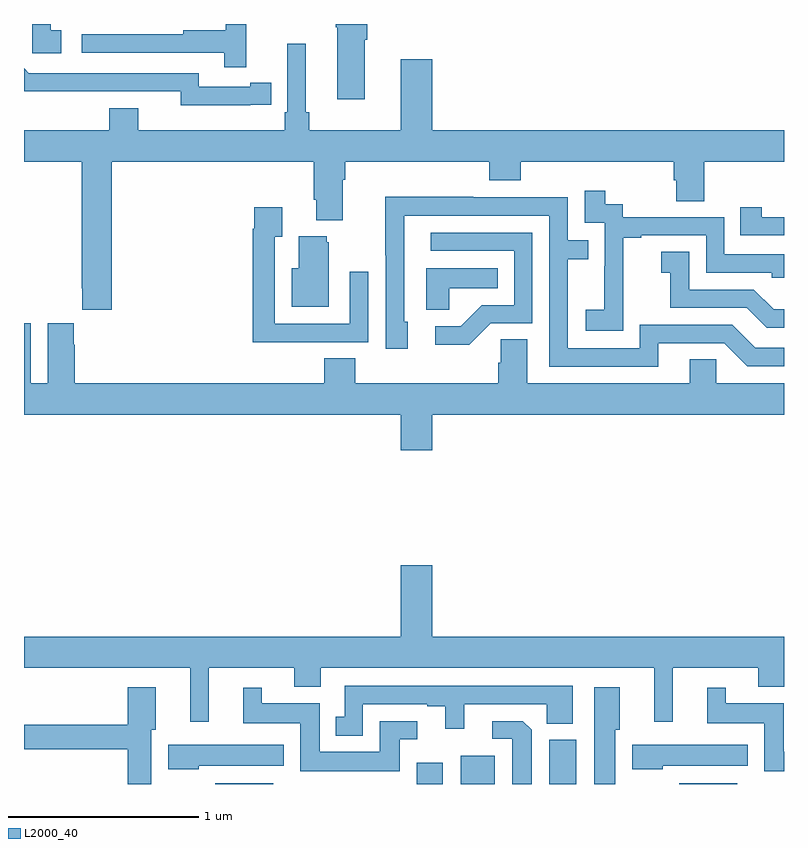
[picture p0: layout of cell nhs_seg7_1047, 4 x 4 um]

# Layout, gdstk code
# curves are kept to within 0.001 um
import gdstk
lib = gdstk.Library(unit=1e-6, precision=1e-09)
def R(c, l, rs):  # rectangles x0, y0, x1, y1
    for r in rs: c.add(gdstk.rectangle(r[:2], r[2:], *l))
def P(c, l, *ps):  # polygons
    for p in ps: c.add(gdstk.Polygon(p, *l))
L2000_40 = (2000, 40)

nhs_seg7_1047 = lib.new_cell('nhs_seg7_1047')
R(nhs_seg7_1047, L2000_40, [(188.006,1004,188.311,1004.005), (189.068,1004,189.205,1004.113), (189.299,1004,189.478,1004.149), (189.764,1004,189.907,1004.233), (190.448,1004,190.753,1004.005)])
P(nhs_seg7_1047, L2000_40, [(188.794,1007.916),(188.807,1007.916),(188.807,1008),(188.641,1008),(188.641,1007.983),(188.648,1007.983),(188.648,1007.604),(188.794,1007.604)],
  [(188.171,1008),(188.061,1008),(188.061,1007.966),(187.837,1007.966),(187.837,1007.946),(187.305,1007.946),(187.305,1007.85),(188.053,1007.85),(188.053,1007.772),(188.171,1007.772)],
  [(187.195,1007.967),(187.142,1007.967),(187.142,1008),(187.044,1008),(187.044,1007.847),(187.195,1007.847)],
  [(187.463,1007.276),(188.525,1007.276),(188.525,1007.074),(188.537,1007.074),(188.537,1006.967),(188.677,1006.967),(188.677,1007.18),(188.69,1007.18),(188.69,1007.276),(189.449,1007.276),(189.449,1007.177),(189.614,1007.177),(189.614,1007.276),(190.421,1007.276),(190.421,1007.178),(190.433,1007.178),(190.433,1007.068),(190.581,1007.068),(190.581,1007.276),(191,1007.276),(191,1007.44),(189.148,1007.44),(189.148,1007.815),(188.984,1007.815),(188.984,1007.44),(188.501,1007.44),(188.501,1007.536),(188.482,1007.536),(188.482,1007.896),(188.385,1007.896),(188.385,1007.536),(188.372,1007.536),(188.372,1007.44),(187.6,1007.44),(187.6,1007.557),(187.448,1007.557),(187.448,1007.44),(187,1007.44),(187,1007.276),(187.303,1007.276),(187.303,1006.609),(187.307,1006.609),(187.307,1006.497),(187.463,1006.497)],
  [(188.192,1007.574),(188.3,1007.574),(188.3,1007.69),(188.192,1007.69),(188.192,1007.67),(187.92,1007.67),(187.92,1007.742),(187.026,1007.742),(187,1007.768),(187,1007.645),(187.824,1007.646),(187.824,1007.573)],
  [(190.155,1006.591),(190.154,1006.591),(190.154,1006.875),(190.249,1006.875),(190.249,1006.887),(190.59,1006.887),(190.59,1006.692),(190.935,1006.692),(190.935,1006.665),(191,1006.665),(191,1006.788),(190.686,1006.788),(190.686,1006.983),(190.152,1006.983),(190.152,1007.052),(190.06,1007.052),(190.06,1007.122),(189.951,1007.122),(189.951,1006.953),(190.056,1006.953),(190.056,1006.724),(190.055,1006.724),(190.055,1006.495),(189.957,1006.495),(189.957,1006.385),(190.155,1006.385)],
  [(190.339,1006.32),(190.686,1006.32),(190.806,1006.2),(191,1006.2),(191,1006.296),(190.848,1006.296),(190.728,1006.416),(190.242,1006.416),(190.242,1006.293),(189.861,1006.293),(189.861,1006.762),(189.971,1006.762),(189.971,1006.863),(189.861,1006.863),(189.861,1007.088),(189.365,1007.088),(189.365,1007.09),(188.902,1007.09),(188.902,1006.783),(188.904,1006.783),(188.904,1006.29),(189.019,1006.29),(189.019,1006.434),(189,1006.434),(189,1006.992),(189.765,1006.992),(189.765,1006.197),(190.339,1006.197)],
  [(191,1006.983),(190.882,1006.983),(190.882,1007.035),(190.771,1007.035),(190.771,1006.887),(191,1006.887)],
  [(188.495,1006.326),(188.811,1006.326),(188.811,1006.696),(188.715,1006.696),(188.715,1006.422),(188.319,1006.422),(188.319,1006.879),(188.359,1006.879),(188.359,1007.035),(188.211,1007.035),(188.211,1006.922),(188.203,1006.922),(188.203,1006.325),(188.495,1006.325)],
  [(189.456,1006.425),(189.675,1006.425),(189.675,1006.902),(189.141,1006.902),(189.141,1006.806),(189.579,1006.806),(189.579,1006.521),(189.41,1006.521),(189.299,1006.41),(189.165,1006.41),(189.165,1006.313),(189.343,1006.313)],
  [(188.605,1006.851),(188.594,1006.851),(188.594,1006.882),(188.447,1006.882),(188.447,1006.714),(188.408,1006.714),(188.408,1006.511),(188.605,1006.511)],
  [(191,1006.498),(190.946,1006.498),(190.842,1006.602),(190.5,1006.602),(190.5,1006.801),(190.353,1006.801),(190.353,1006.691),(190.402,1006.691),(190.402,1006.506),(190.805,1006.506),(190.91,1006.401),(191,1006.401)],
  [(189.237,1006.61),(189.494,1006.61),(189.494,1006.714),(189.116,1006.714),(189.116,1006.495),(189.237,1006.495)],
  [(189.148,1005.944),(191,1005.944),(191,1006.108),(190.644,1006.108),(190.644,1006.235),(190.505,1006.235),(190.505,1006.108),(189.649,1006.108),(189.649,1006.34),(189.51,1006.34),(189.51,1006.217),(189.497,1006.217),(189.497,1006.108),(188.744,1006.108),(188.744,1006.241),(188.579,1006.241),(188.579,1006.108),(187.268,1006.108),(187.268,1006.313),(187.261,1006.313),(187.261,1006.426),(187.124,1006.426),(187.124,1006.108),(187.036,1006.108),(187.036,1006.426),(187,1006.426),(187,1005.944),(188.984,1005.944),(188.984,1005.756),(189.148,1005.756)],
  [(187.973,1004.612),(188.423,1004.612),(188.423,1004.513),(188.563,1004.513),(188.563,1004.612),(190.316,1004.612),(190.316,1004.328),(190.415,1004.328),(190.415,1004.612),(190.865,1004.612),(190.865,1004.513),(191,1004.513),(191,1004.776),(189.148,1004.776),(189.148,1005.151),(188.984,1005.151),(188.984,1004.776),(187,1004.776),(187,1004.612),(187.874,1004.612),(187.874,1004.328),(187.973,1004.328)],
  [(188.784,1004.421),(189.122,1004.421),(189.122,1004.409),(189.218,1004.409),(189.218,1004.292),(189.316,1004.292),(189.316,1004.421),(189.75,1004.421),(189.75,1004.318),(189.889,1004.318),(189.889,1004.517),(188.688,1004.517),(188.688,1004.355),(188.642,1004.355),(188.642,1004.255),(188.784,1004.255)],
  [(187.669,1004.286),(187.693,1004.286),(187.693,1004.509),(187.547,1004.509),(187.547,1004.311),(187,1004.311),(187,1004.182),(187.547,1004.182),(187.547,1004),(187.669,1004)],
  [(190.111,1004.286),(190.135,1004.286),(190.135,1004.509),(190.001,1004.509),(190.001,1004),(190.111,1004)],
  [(188.977,1004.235),(189.07,1004.235),(189.07,1004.331),(188.873,1004.331),(188.873,1004.17),(188.557,1004.17),(188.557,1004.425),(188.251,1004.425),(188.251,1004.506),(188.153,1004.506),(188.153,1004.321),(188.453,1004.321),(188.453,1004.066),(188.977,1004.066)],
  [(191,1004.17),(190.999,1004.17),(190.999,1004.425),(190.693,1004.425),(190.693,1004.506),(190.595,1004.506),(190.595,1004.321),(190.895,1004.321),(190.895,1004.066),(191,1004.066)],
  [(189.673,1004.174),(189.672,1004.174),(189.672,1004.285),(189.626,1004.331),(189.465,1004.331),(189.465,1004.238),(189.569,1004.238),(189.569,1004),(189.673,1004)],
  [(187.92,1004.096),(188.368,1004.096),(188.368,1004.206),(187.758,1004.206),(187.758,1004.078),(187.92,1004.078)],
  [(190.362,1004.096),(190.81,1004.096),(190.81,1004.206),(190.2,1004.206),(190.2,1004.078),(190.362,1004.078)])

lib.write_gds('nhs_seg7_1047.gds')
